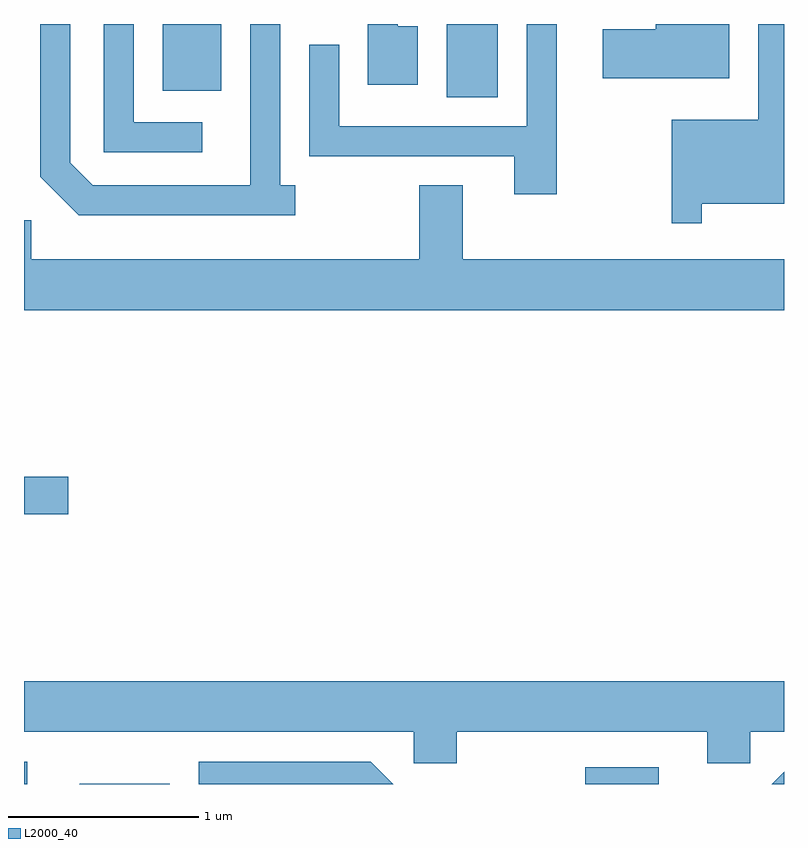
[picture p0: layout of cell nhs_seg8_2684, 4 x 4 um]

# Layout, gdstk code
import gdstk
lib = gdstk.Library(unit=1e-6, precision=1e-09)
def R(c, l, rs):  # rectangles x0, y0, x1, y1
    for r in rs: c.add(gdstk.rectangle(r[:2], r[2:], *l))
def P(c, l, *ps):  # polygons
    for p in ps: c.add(gdstk.Polygon(p, *l))
L2000_40 = (2000, 40)

nhs_seg8_2684 = lib.new_cell('nhs_seg8_2684')
R(nhs_seg8_2684, L2000_40, [(265.611,1858.342,265.628,1858.459), (268.566,1858.342,268.953,1858.429), (265.611,1859.761,265.844,1859.959), (267.836,1861.956,268.104,1862.342), (266.341,1861.991,266.649,1862.342)])
P(nhs_seg8_2684, L2000_40, [(268.414,1862.342),(268.256,1862.342),(268.256,1861.804),(267.269,1861.804),(267.269,1862.233),(267.111,1862.233),(267.111,1861.646),(268.191,1861.646),(268.191,1861.446),(268.414,1861.446)],
  [(269.324,1862.342),(268.936,1862.342),(268.936,1862.314),(268.656,1862.314),(268.656,1862.056),(269.324,1862.056)],
  [(269.179,1861.396),(269.611,1861.396),(269.611,1862.342),(269.476,1862.342),(269.476,1861.839),(269.021,1861.839),(269.021,1861.293),(269.179,1861.293)],
  [(267.038,1861.494),(266.959,1861.494),(266.959,1862.342),(266.801,1862.342),(266.801,1861.494),(265.972,1861.494),(265.854,1861.612),(265.854,1862.342),(265.696,1862.342),(265.696,1861.539),(265.899,1861.336),(267.038,1861.336)],
  [(267.684,1862.329),(267.579,1862.329),(267.579,1862.342),(267.421,1862.342),(267.421,1862.021),(267.684,1862.021)],
  [(266.548,1861.824),(266.189,1861.824),(266.189,1862.342),(266.031,1862.342),(266.031,1861.666),(266.548,1861.666)],
  [(269.611,1861.104),(267.919,1861.104),(267.919,1861.494),(267.691,1861.494),(267.691,1861.104),(265.649,1861.104),(265.649,1861.309),(265.611,1861.309),(265.611,1860.836),(269.611,1860.836)],
  [(267.889,1858.616),(269.206,1858.616),(269.206,1858.451),(269.434,1858.451),(269.434,1858.616),(269.611,1858.616),(269.611,1858.884),(265.611,1858.884),(265.611,1858.616),(267.661,1858.616),(267.661,1858.451),(267.889,1858.451)],
  [(267.437,1858.459),(266.531,1858.459),(266.531,1858.342),(267.554,1858.342)],
  [(269.611,1858.406),(269.547,1858.342),(269.611,1858.342)],
  [(266.379,1858.344),(265.904,1858.344),(265.902,1858.342),(266.379,1858.342)])

lib.write_gds('nhs_seg8_2684.gds')
